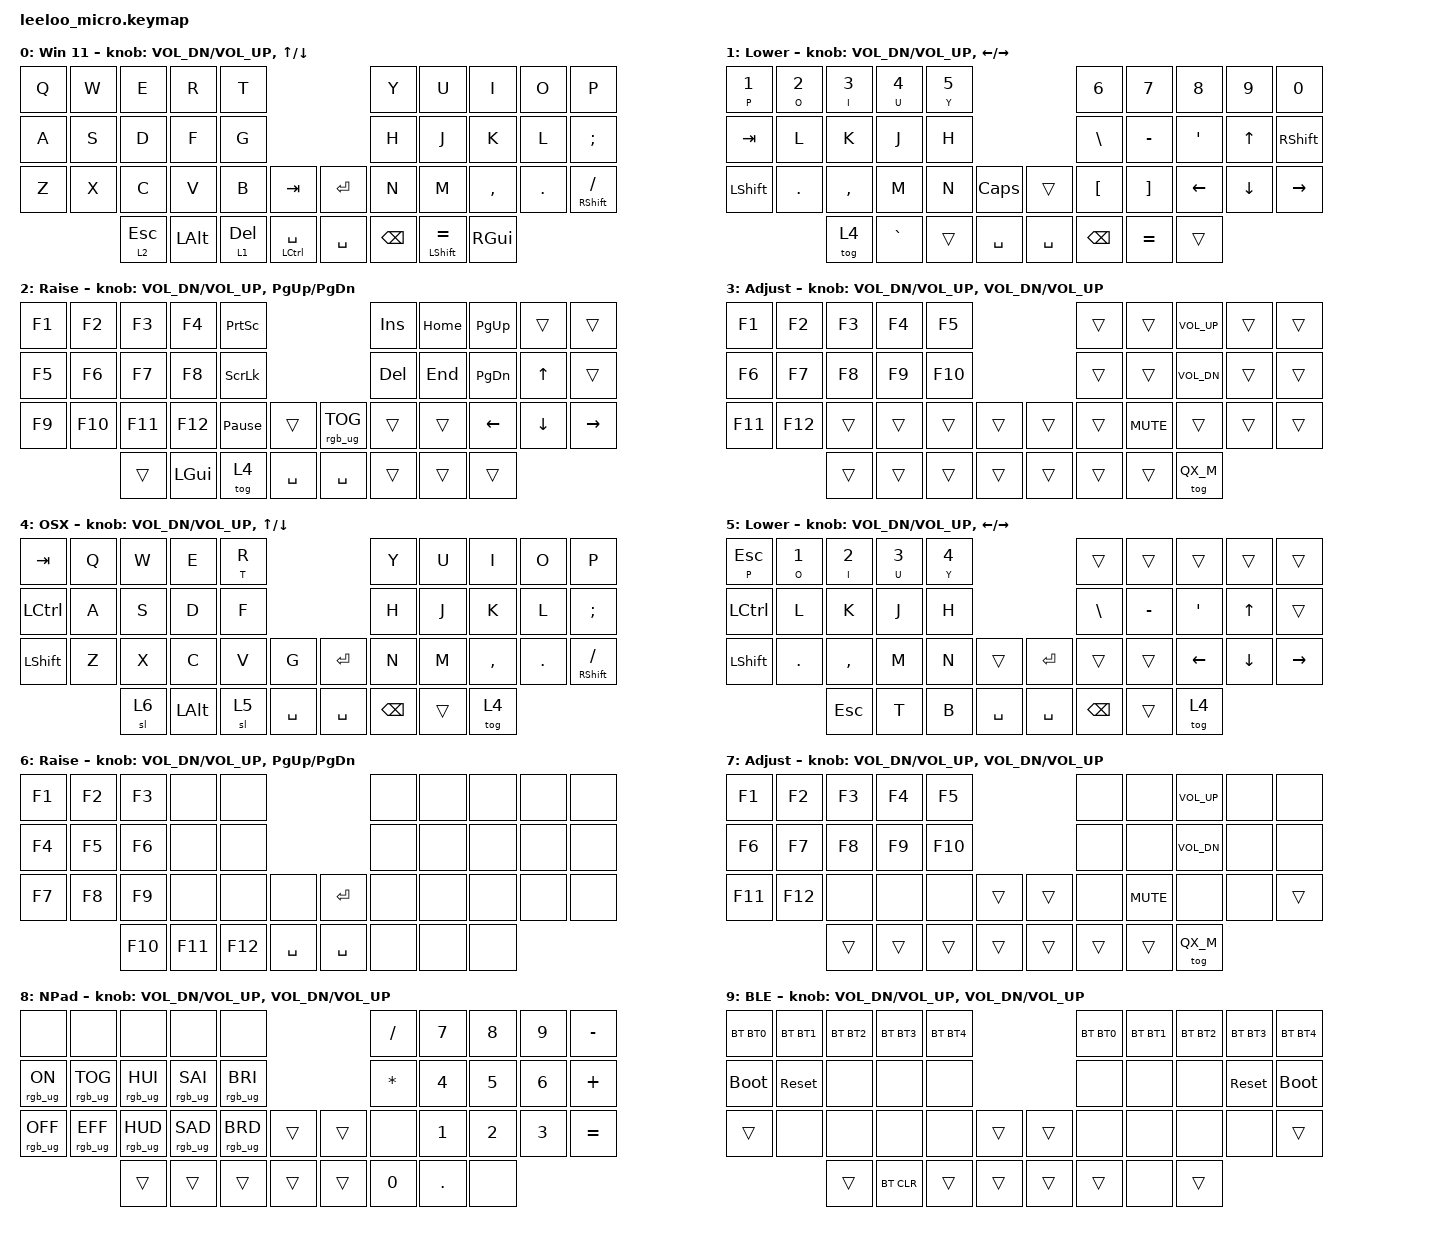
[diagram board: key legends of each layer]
/*
 * Copyright (c) 2024 The ZMK Contributors
 * SPDX-License-Identifier: MIT
 */

#include <behaviors.dtsi>
#include <dt-bindings/zmk/outputs.h>
#include <dt-bindings/zmk/keys.h>
#include <dt-bindings/zmk/bt.h>
#include <dt-bindings/zmk/rgb.h>

// Layers
#define QW_M    0       // Main
#define QW_L    1       // Lower
#define QW_R    2       // Raise
#define QW_A    3       // Adjust

#define QX_M    4       // Main
#define QX_L    5       // Lower
#define QX_R    6       // Raise
#define QX_A    7       // Adjust

#define QC_N    8       // Number Pad
#define QC_F    9       // Firmware


// Short versions
#define WIN_SC      LG(LS(S))
#define OSX_SC      LG(LS(N4))

#define enDSH_X     LA(MINUS)
#define emDSH_X     LS(LA(MINUS))

#define BT0         BT_SEL 0
#define BT1         BT_SEL 1
#define BT2         BT_SEL 2
#define BT3         BT_SEL 3
#define BT4         BT_SEL 4

#define BOOTLDR     &bootloader

#define VOLUP   C_VOL_UP
#define VOLDN   C_VOL_DN
#define VOLMT   C_MUTE

#define RGBON   &rgb_ug RGB_ON
#define RGBOFF  &rgb_ug RGB_OFF
#define RGBTOG  &rgb_ug RGB_TOG
#define RGBHUI  &rgb_ug RGB_HUI
#define RGBHUD  &rgb_ug RGB_HUD
#define RGBSAI  &rgb_ug RGB_SAI
#define RGBSAD  &rgb_ug RGB_SAD
#define RGBBRI  &rgb_ug RGB_BRI
#define RGBBRD  &rgb_ug RGB_BRD
#define RGBEFF  &rgb_ug RGB_EFF


/*
 * Assign the cs-gpios pin to 4.
 * Uncomment these next few lines if implementing nice!view Displays
 */
nice_view_spi: &spi0 {
    cs-gpios = <&pro_micro 4 GPIO_ACTIVE_HIGH>;
};


/ {
    conditional_layers {
        compatible = "zmk,conditional-layers";
        adjust_win_layer {
            if-layers = <QW_L QW_R>;
            then-layer = <QW_A>;
        };
        
        adjust_osx_layer {
            if-layers = <QX_L QX_R>;
            then-layer = <QX_A>;
        };
    };

/*    combos {
 *       compatible = "zmk,combos";

 *       combo_win_esc {
 *           timeout-ms = <50>;
 *           key-positions = <0 1>;
 *           layers = <QW_M>;
 *           bindings = <&kp ESC>;
 *       };

 *       combo_osx_esc {
 *           timeout-ms = <50>;
 *           key-positions = <0 1>;
 *           layers = <QX_M>;
 *           bindings = <&kp ESC>;
 *       };

 *       combo_osx_lock {
 *           timeout-ms = <50>;
 *           key-positions = <26 18>;
 *           layers = <QX_M>;
 *           bindings = <&kp LC(LG(Q))>;
 *       };
 *   };
*/
    macros {
        enDSH_W: en_Dash {
            compatible = "zmk,behavior-macro";
            #binding-cells = <0>;
            wait-ms = <20>;
            tap-ms = <20>;
            bindings
                = <&macro_press   &kp LALT>
                , <&macro_tap     &kp KP_N0 &kp KP_N1 &kp KP_N5 &kp KP_N0>
                , <&macro_release &kp LALT>
                ;
        };

        emDSH_W: em_Dash {
            compatible = "zmk,behavior-macro";
            #binding-cells = <0>;
            wait-ms = <20>;
            tap-ms = <20>;
            bindings
                = <&macro_press   &kp LALT>
                , <&macro_tap     &kp KP_N0 &kp KP_N1 &kp KP_N5 &kp KP_N1>
                , <&macro_release &kp LALT>
                ;
        };
    };

    behaviors {
        tdw_Q: tap_dance_0 {
            compatible = "zmk,behavior-tap-dance";
            #binding-cells = <0>;
            tapping-term-ms = <200>;
            bindings = <&kp Q>, <&kp LA(F4)>;
        };

        tdx_Q: tap_dance_1 {
            compatible = "zmk,behavior-tap-dance";
            #binding-cells = <0>;
            tapping-term-ms = <200>;
            bindings = <&kp Q>, <&kp LG(Q)>;
        };

        tdw_LRP: tap_dance_2 {
            compatible = "zmk,behavior-tap-dance";
            #binding-cells = <0>;
            tapping-term-ms = <200>;
            bindings = <&kp LPAR>, <&kp RPAR>;
        };

        tdx_LRB: tap_dance_3 {
            compatible = "zmk,behavior-tap-dance";
            #binding-cells = <0>;
            tapping-term-ms = <200>;
            bindings = <&kp LBKT>, <&kp RBKT>;
        };

        tdx_LRR: tap_dance_4 {
            compatible = "zmk,behavior-tap-dance";
            #binding-cells = <0>;
            tapping-term-ms = <200>;
            bindings = <&kp LBRC>, <&kp RBRC>;
        };

        tdx_LRA: tap_dance_5 {
            compatible = "zmk,behavior-tap-dance";
            #binding-cells = <0>;
            tapping-term-ms = <200>;
            bindings = <&kp LT>, <&kp GT>;
        };

        tdx_BOL: tap_dance_6 {
            compatible = "zmk,behavior-tap-dance";
            #binding-cells = <0>;
            tapping-term-ms = <200>;
            bindings = <&kp LG(LEFT)>, <&kp HOME>;
        };

        tdx_EOL: tap_dance_7 {
            compatible = "zmk,behavior-tap-dance";
            #binding-cells = <0>;
            tapping-term-ms = <200>;
            bindings = <&kp LG(RIGHT)>, <&kp END>;
        };
    };

    keymap {
        compatible = "zmk,keymap";

        default_win_layer {
            display-name = " Win 11";
            bindings = <
&kp Q     &kp W      &kp E      &kp R      &kp T                            &kp Y      &kp U      &kp I      &kp O      &kp P
&kp A      &kp S      &kp D      &kp F      &kp G                            &kp H      &kp J      &kp K      &kp L      &kp SEMI
&kp Z &kp X      &kp C      &kp V      &kp B     &kp TAB    &kp RET   &kp N      &kp M      &kp COMMA  &kp DOT    &mt RSHFT FSLH
                  &lt 2 ESC   &kp LALT  &lt 1 DEL  &mt LCTRL SPACE    &kp SPACE  &kp BSPC  &mt LSHFT EQUAL   &kp RGUI
            >;

            sensor-bindings = <&inc_dec_kp C_VOL_DN C_VOL_UP &inc_dec_kp UP DOWN>;
        };

        lower_win_layer {
            display-name = " Lower";
            bindings = <
&mt P N1     &mt O N2     &mt I N3     &mt U N4     &mt Y N5                           &kp N6     &kp N7     &kp N8     &kp N9     &kp N0
&kp TAB   &kp L   &kp K   &kp J   &kp H                           &kp BSLH     &kp MINUS     &kp SQT     &kp UP     &kp RSHFT
&kp LSHFT  &kp DOT     &kp COMMA     &kp M     &kp N     &kp CAPS     &trans           &kp LBKT   &kp RBKT   &kp LEFT     &kp DOWN     &kp RIGHT
                      &tog 4     &kp GRAVE     &trans     &kp SPACE     &kp SPACE     &kp BSPC     &kp EQUAL     &trans
            >;

            sensor-bindings = <&inc_dec_kp C_VOL_DN C_VOL_UP &inc_dec_kp LEFT RIGHT>;
        };

        raise_win_layer {
            display-name = " Raise";
            bindings = <
&kp F1    &kp F2     &kp F3     &kp F4 &kp PSCRN                           &kp INS  &kp HOME   &kp PG_UP     &trans    &trans
&kp F5   &kp F6     &kp F7     &kp F8     &kp SLCK                           &kp DEL  &kp END   &kp PG_DN   &kp UP  &trans
&kp F9     &kp F10     &kp F11     &kp F12     &kp PAUSE_BREAK     
&trans
     &rgb_ug RGB_TOG     &trans     &trans     &kp LEFT     &kp DOWN     &kp RIGHT
                      &trans     &kp LGUI     &tog 4     &kp SPACE     &kp SPACE     &trans     &trans    &trans
            >;

            sensor-bindings = <&inc_dec_kp C_VOL_DN C_VOL_UP &inc_dec_kp PG_UP PG_DN>;
        };

        adjust_win_layer {
            display-name = " Adjust";
            bindings = <
&kp F1     &kp F2     &kp F3     &kp F4     &kp F5                           &trans     &trans     &kp VOLUP  &trans     &trans
&kp F6     &kp F7     &kp F8     &kp F9     &kp F10                          &trans     &trans     &kp VOLDN  &trans     &trans
&kp F11    &kp F12    &trans     &trans     &trans     &trans     &trans     &trans     &kp VOLMT  &trans     &trans     &trans
                      &trans     &trans     &trans     &trans     &trans     &trans     &trans     &tog QX_M
            >;

            sensor-bindings = <&inc_dec_kp C_VOL_DN C_VOL_UP &inc_dec_kp C_VOL_DN C_VOL_UP>;
        };

        default_osx_layer {
            display-name = " OSX";
            bindings = <
&kp TAB     &kp Q     &kp W     &kp E     &mt T R                           &kp Y     &kp U     &kp I  &kp O     &kp P
&kp LCTRL     &kp A     &kp S     &kp D     &kp F                          &kp H     &kp J     &kp K  &kp L     &kp SEMI
&kp LSHFT    &kp Z    &kp X     &kp C     &kp V     &kp G     &kp RET     &kp N     &kp M  &kp COMMA     &kp DOT     &mt RSHFT FSLH
                      &sl 6     &kp LALT     &sl 5     &kp SPACE     &kp SPACE     &kp BSPC     &trans     &tog 4
            >;

            sensor-bindings = <&inc_dec_kp C_VOL_DN C_VOL_UP &inc_dec_kp UP DOWN>;
        };

        lower_osx_layer {
            display-name = " Lower";
            bindings = <
&mt P ESC     &mt O N1     &mt I N2     &mt U N3     &mt Y N4                           &trans      &trans      &trans     &trans     &trans
&kp LCTRL   &kp L   &kp K   &kp J   &kp H                            &kp BSLH       &kp MINUS       &kp SQT      &kp UP      &trans
&kp LSHFT  &kp DOT      &kp COMMA      &kp M      &kp N      &trans     &kp RET     &trans &trans &kp LEFT      &kp DOWN      &kp RIGHT
                      &kp ESC     &kp T     &kp B     &kp SPACE     &kp SPACE     &kp BSPC      &trans      &tog 4
            >;

            sensor-bindings = <&inc_dec_kp C_VOL_DN C_VOL_UP &inc_dec_kp LEFT RIGHT>;
        };

        raise_osx_layer {
            display-name = " Raise";
            bindings = <
&kp F1    &kp F2      &kp F3      &none &none                            &none  &none   &none     &none   &none
&kp F4   &kp F5      &kp F6      &none      &none                            &none  &none   &none   &none  &none
&kp F7     &kp F8      &kp F9      &none      &none      &none     &kp RET     &none      &none      &none      &none      &none
                      &kp F10     &kp F11     &kp F12     &kp SPACE     &kp SPACE     &none     &none    &none
            >;

            sensor-bindings = <&inc_dec_kp C_VOL_DN C_VOL_UP &inc_dec_kp PG_UP PG_DN>;
        };

        adjust_osx_layer {
            display-name = " Adjust";
            bindings = <
&kp F1     &kp F2     &kp F3     &kp F4     &kp F5                           &none      &none      &kp VOLUP  &none      &none
&kp F6     &kp F7     &kp F8     &kp F9     &kp F10                          &none      &none      &kp VOLDN  &none      &none
&kp F11    &kp F12    &none      &none      &none      &trans     &trans     &none      &kp VOLMT  &none      &none      &trans
                      &trans     &trans     &trans     &trans     &trans     &trans     &trans     &tog QX_M
            >;

            sensor-bindings = <&inc_dec_kp C_VOL_DN C_VOL_UP &inc_dec_kp C_VOL_DN C_VOL_UP>;
        };

        numpad_layer {
            display-name = " NPad";
            bindings = <
&none      &none      &none      &none      &none                            &kp SLASH  &kp N7     &kp N8     &kp N9     &kp MINUS
RGBON      RGBTOG     RGBHUI     RGBSAI     RGBBRI                           &kp ASTRK  &kp N4     &kp N5     &kp N6     &kp PLUS 
RGBOFF     RGBEFF     RGBHUD     RGBSAD     RGBBRD     &trans     &trans     &none      &kp N1     &kp N2     &kp N3     &kp EQUAL
                      &trans     &trans     &trans     &trans     &trans     &kp N0     &kp DOT    &none
            >;

            sensor-bindings = <&inc_dec_kp C_VOL_DN C_VOL_UP &inc_dec_kp C_VOL_DN C_VOL_UP>;
        };

        ble_layer {
            display-name = " BLE";
            bindings = <
&bt BT0    &bt BT1    &bt BT2    &bt BT3    &bt BT4                          &bt BT0    &bt BT1    &bt BT2    &bt BT3    &bt BT4
BOOTLDR    &sys_reset &none      &none      &none                            &none      &none      &none      &sys_reset BOOTLDR
&trans     &none      &none      &none      &none      &trans     &trans     &none      &none      &none      &none      &trans
                      &trans     &bt BT_CLR &trans     &trans     &trans     &trans     &none      &trans
            >;

            sensor-bindings = <&inc_dec_kp C_VOL_DN C_VOL_UP &inc_dec_kp C_VOL_DN C_VOL_UP>;
        };

    };
};
